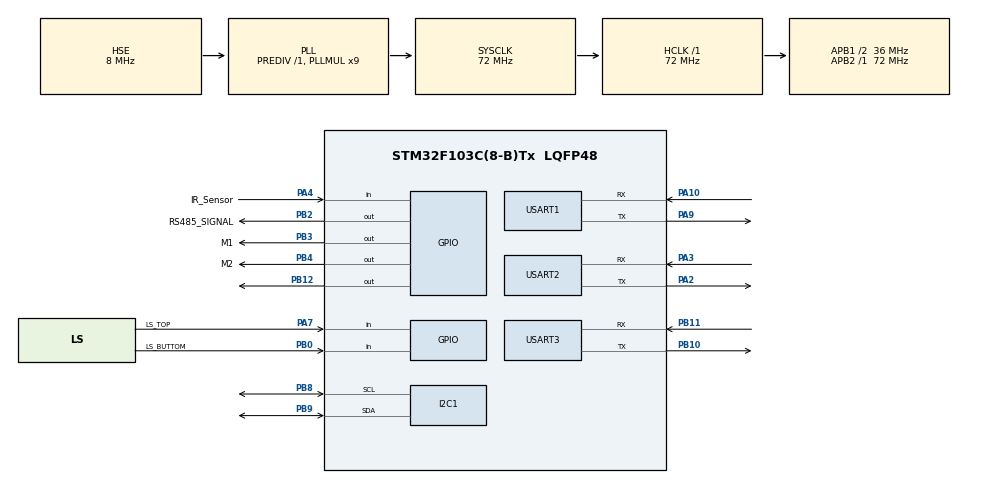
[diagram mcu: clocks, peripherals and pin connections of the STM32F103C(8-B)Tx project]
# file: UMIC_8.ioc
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Mcu.Family=STM32F1
Mcu.Name=STM32F103C(8-B)Tx
Mcu.Package=LQFP48
NVIC.PriorityGroup=NVIC_PRIORITYGROUP_4
NVIC.USART1_IRQn=true\:0\:0\:false\:false\:true\:true
NVIC.USART2_IRQn=true\:0\:0\:false\:false\:true\:true
NVIC.USART3_IRQn=true\:0\:0\:false\:false\:true\:true
PA10.Mode=Asynchronous
PA10.Signal=USART1_RX
PA13.Mode=Serial_Wire
PA13.Signal=SYS_JTMS-SWDIO
PA14.Mode=Serial_Wire
PA14.Signal=SYS_JTCK-SWCLK
PA2.Mode=Asynchronous
PA2.Signal=USART2_TX
PA3.Mode=Asynchronous
PA3.Signal=USART2_RX
PA4.GPIO_Label=IR_Sensor
PA4.Signal=GPIO_Input
PA7.GPIO_Label=LS_TOP
PA7.GPIO_PuPd=GPIO_PULLUP
PA7.Signal=GPIO_Input
PA9.Mode=Asynchronous
PA9.Signal=USART1_TX
PB0.GPIO_Label=LS_BUTTOM
PB0.GPIO_PuPd=GPIO_PULLUP
PB0.Signal=GPIO_Input
PB10.Mode=Asynchronous
PB10.Signal=USART3_TX
PB11.Mode=Asynchronous
PB11.Signal=USART3_RX
PB12.Signal=GPIO_Output
PB2.GPIO_Label=RS485_SIGNAL
PB2.Signal=GPIO_Output
PB3.GPIO_Label=M1
PB3.GPIO_ModeDefaultOutputPP=GPIO_MODE_OUTPUT_OD
PB3.Signal=GPIO_Output
PB4.GPIO_Label=M2
PB4.GPIO_ModeDefaultOutputPP=GPIO_MODE_OUTPUT_OD
PB4.Signal=GPIO_Output
PB8.Mode=I2C
PB8.Signal=I2C1_SCL
PB9.Mode=I2C
PB9.Signal=I2C1_SDA
PD0-OSC_IN.Mode=HSE-External-Oscillator
PD0-OSC_IN.Signal=RCC_OSC_IN
PD1-OSC_OUT.Mode=HSE-External-Oscillator
PD1-OSC_OUT.Signal=RCC_OSC_OUT
ProjectManager.HeapSize=0x200
ProjectManager.StackSize=0x400
ProjectManager.TargetToolchain=MDK-ARM V5
RCC.AHBFreq_Value=72000000
RCC.APB1CLKDivider=RCC_HCLK_DIV2
RCC.APB1Freq_Value=36000000
RCC.APB1TimFreq_Value=72000000
RCC.APB2Freq_Value=72000000
RCC.APB2TimFreq_Value=72000000
RCC.HCLKFreq_Value=72000000
RCC.PLLMUL=RCC_PLL_MUL9
RCC.PLLSourceVirtual=RCC_PLLSOURCE_HSE
RCC.SYSCLKFreq_VALUE=72000000
RCC.SYSCLKSource=RCC_SYSCLKSOURCE_PLLCLK
RCC.USBFreq_Value=72000000
USART1.VirtualMode=VM_ASYNC
USART2.VirtualMode=VM_ASYNC
USART3.VirtualMode=VM_ASYNC
board=UMIC_8

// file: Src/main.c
/**
  ******************************************************************************
  * File Name          : main.c
  * Description        : Main program body
  ******************************************************************************
  ** This notice applies to any and all portions of this file
  * that are not between comment pairs USER CODE BEGIN and
  * USER CODE END. Other portions of this file, whether
  * inserted by the user or by software development tools
  * are owned by their respective copyright owners.
  *
  * COPYRIGHT(c) 2017 STMicroelectronics
  *
  * Redistribution and use in source and binary forms, with or without modification,
  * are permitted provided that the following conditions are met:
  *   1. Redistributions of source code must retain the above copyright notice,
  *      this list of conditions and the following disclaimer.
  *   2. Redistributions in binary form must reproduce the above copyright notice,
  *      this list of conditions and the following disclaimer in the documentation
  *      and/or other materials provided with the distribution.
  *   3. Neither the name of STMicroelectronics nor the names of its contributors
  *      may be used to endorse or promote products derived from this software
  *      without specific prior written permission.
  *
  * THIS SOFTWARE IS PROVIDED BY THE COPYRIGHT HOLDERS AND CONTRIBUTORS "AS IS"
  * AND ANY EXPRESS OR IMPLIED WARRANTIES, INCLUDING, BUT NOT LIMITED TO, THE
  * IMPLIED WARRANTIES OF MERCHANTABILITY AND FITNESS FOR A PARTICULAR PURPOSE ARE
  * DISCLAIMED. IN NO EVENT SHALL THE COPYRIGHT HOLDER OR CONTRIBUTORS BE LIABLE
  * FOR ANY DIRECT, INDIRECT, INCIDENTAL, SPECIAL, EXEMPLARY, OR CONSEQUENTIAL
  * DAMAGES (INCLUDING, BUT NOT LIMITED TO, PROCUREMENT OF SUBSTITUTE GOODS OR
  * SERVICES; LOSS OF USE, DATA, OR PROFITS; OR BUSINESS INTERRUPTION) HOWEVER
  * CAUSED AND ON ANY THEORY OF LIABILITY, WHETHER IN CONTRACT, STRICT LIABILITY,
  * OR TORT (INCLUDING NEGLIGENCE OR OTHERWISE) ARISING IN ANY WAY OUT OF THE USE
  * OF THIS SOFTWARE, EVEN IF ADVISED OF THE POSSIBILITY OF SUCH DAMAGE.
  *
  ******************************************************************************
  */
#include "main.h"
#include "stm32f1xx_hal.h"

/* USER CODE BEGIN Includes */
#include "enum.h"
#include <string.h>
#include <stdio.h>
/* USER CODE END Includes */

I2C_HandleTypeDef hi2c1;

UART_HandleTypeDef huart1;
UART_HandleTypeDef huart2;
UART_HandleTypeDef huart3;

/* USER CODE BEGIN PV */
/* Private variables ---------------------------------------------------------*/
enum Moving_State Updown;
enum CoreXY_Action Updown_Act;
enum Moving_State CoreXY_State;
enum Moving_State Scissors_State;
enum Circle_State Mcircle = Circle_Init;
uint8_t Recive_Data[4];
uint8_t Scissors_Recive_Buffer[30];
uint8_t CoreXY_Recive_Buffer[30];
uint8_t CoreXY_Transmit_Buffer[30];

/* USER CODE END PV */

void SystemClock_Config(void);
static void MX_GPIO_Init(void);
static void MX_USART1_UART_Init(void);
static void MX_USART2_UART_Init(void);
static void MX_I2C1_Init(void);
static void MX_USART3_UART_Init(void);

/* USER CODE BEGIN PFP */
/* Private function prototypes -----------------------------------------------*/
void Block_Clear(uint8_t* buffer);
void Moving_Updown(enum Moving_State state);
void Moving_CoreXY(void);
void CoreXY_Act(uint8_t position, enum CoreXY_Action action);
void CoreXY_Send(enum CoreXY_Command command);
void Mechanic_Init(void);
/* USER CODE END PFP */

int main(void)
{

  /* MCU Configuration----------------------------------------------------------*/

  /* Reset of all peripherals, Initializes the Flash interface and the Systick. */
  HAL_Init();

  /* Configure the system clock */
  SystemClock_Config();

  /* Initialize all configured peripherals */
  MX_GPIO_Init();
  MX_USART1_UART_Init();
  MX_USART2_UART_Init();
  MX_I2C1_Init();
  MX_USART3_UART_Init();

  /* USER CODE BEGIN 2 */
	Mechanic_Init();
  /* USER CODE END 2 */

  /* Infinite loop */
  /* USER CODE BEGIN WHILE */
  while (1)
  {
		//HAL_GPIO_TogglePin(GPIOB, GPIO_PIN_12);
		//HAL_Delay(200);
		if(Mcircle == Circle_Idle)
			continue;
		if(Updown != Moving && Updown_Act == Stop)
		{
			HAL_GPIO_WritePin(M1_GPIO_Port, M1_Pin, GPIO_PIN_SET);
			HAL_GPIO_WritePin(M2_GPIO_Port, M2_Pin, GPIO_PIN_SET);
			HAL_Delay(200);
			HAL_GPIO_WritePin(M1_GPIO_Port, M1_Pin, GPIO_PIN_RESET);
			HAL_GPIO_WritePin(M2_GPIO_Port, M2_Pin, GPIO_PIN_RESET);
			if(Updown == At_Buttom)
				Mcircle = Circle_Idle;
			else
			{
				Moving_CoreXY();
				Moving_Updown(At_Top);
			}
		}
		else
		{
			if(HAL_GPIO_ReadPin(LS_BUTTOM_GPIO_Port, LS_BUTTOM_Pin) == GPIO_PIN_RESET
				|| HAL_GPIO_ReadPin(LS_TOP_GPIO_Port, LS_TOP_Pin) == GPIO_PIN_RESET)
			{
				HAL_Delay(10);
				if(HAL_GPIO_ReadPin(LS_BUTTOM_GPIO_Port, LS_BUTTOM_Pin) == GPIO_PIN_RESET && Updown_Act == Down)
				{
					Updown = At_Buttom;
					Updown_Act = Stop;
					HAL_GPIO_TogglePin(GPIOB, GPIO_PIN_12);
				}
				if(HAL_GPIO_ReadPin(LS_TOP_GPIO_Port, LS_TOP_Pin) == GPIO_PIN_RESET && Updown_Act == Up)
				{
					Updown = At_Top;
					Updown_Act = Stop;
					HAL_GPIO_TogglePin(GPIOB, GPIO_PIN_12);
				}
			}
		}

  /* USER CODE END WHILE */

  }

}

/** System Clock Configuration
*/
void SystemClock_Config(void)
{

  RCC_OscInitTypeDef RCC_OscInitStruct;
  RCC_ClkInitTypeDef RCC_ClkInitStruct;

    /**Initializes the CPU, AHB and APB busses clocks
    */
  RCC_OscInitStruct.OscillatorType = RCC_OSCILLATORTYPE_HSE;
  RCC_OscInitStruct.HSEState = RCC_HSE_ON;
  RCC_OscInitStruct.HSEPredivValue = RCC_HSE_PREDIV_DIV1;
  RCC_OscInitStruct.HSIState = RCC_HSI_ON;
  RCC_OscInitStruct.PLL.PLLState = RCC_PLL_ON;
  RCC_OscInitStruct.PLL.PLLSource = RCC_PLLSOURCE_HSE;
  RCC_OscInitStruct.PLL.PLLMUL = RCC_PLL_MUL9;
  if (HAL_RCC_OscConfig(&RCC_OscInitStruct) != HAL_OK)
  {
    _Error_Handler(__FILE__, __LINE__);
  }

    /**Initializes the CPU, AHB and APB busses clocks
    */
  RCC_ClkInitStruct.ClockType = RCC_CLOCKTYPE_HCLK|RCC_CLOCKTYPE_SYSCLK
                              |RCC_CLOCKTYPE_PCLK1|RCC_CLOCKTYPE_PCLK2;
  RCC_ClkInitStruct.SYSCLKSource = RCC_SYSCLKSOURCE_PLLCLK;
  RCC_ClkInitStruct.AHBCLKDivider = RCC_SYSCLK_DIV1;
  RCC_ClkInitStruct.APB1CLKDivider = RCC_HCLK_DIV2;
  RCC_ClkInitStruct.APB2CLKDivider = RCC_HCLK_DIV1;

  if (HAL_RCC_ClockConfig(&RCC_ClkInitStruct, FLASH_LATENCY_2) != HAL_OK)
  {
    _Error_Handler(__FILE__, __LINE__);
  }

    /**Configure the Systick interrupt time
    */
  HAL_SYSTICK_Config(HAL_RCC_GetHCLKFreq()/1000);

    /**Configure the Systick
    */
  HAL_SYSTICK_CLKSourceConfig(SYSTICK_CLKSOURCE_HCLK);

  /* SysTick_IRQn interrupt configuration */
  HAL_NVIC_SetPriority(SysTick_IRQn, 0, 0);
}

/* I2C1 init function */
static void MX_I2C1_Init(void)
{

  hi2c1.Instance = I2C1;
  hi2c1.Init.ClockSpeed = 100000;
  hi2c1.Init.DutyCycle = I2C_DUTYCYCLE_2;
  hi2c1.Init.OwnAddress1 = 0;
  hi2c1.Init.AddressingMode = I2C_ADDRESSINGMODE_7BIT;
  hi2c1.Init.DualAddressMode = I2C_DUALADDRESS_DISABLE;
  hi2c1.Init.OwnAddress2 = 0;
  hi2c1.Init.GeneralCallMode = I2C_GENERALCALL_DISABLE;
  hi2c1.Init.NoStretchMode = I2C_NOSTRETCH_DISABLE;
  if (HAL_I2C_Init(&hi2c1) != HAL_OK)
  {
    _Error_Handler(__FILE__, __LINE__);
  }

}

/* USART1 init function */
static void MX_USART1_UART_Init(void)
{

  huart1.Instance = USART1;
  huart1.Init.BaudRate = 115200;
  huart1.Init.WordLength = UART_WORDLENGTH_8B;
  huart1.Init.StopBits = UART_STOPBITS_1;
  huart1.Init.Parity = UART_PARITY_NONE;
  huart1.Init.Mode = UART_MODE_TX_RX;
  huart1.Init.HwFlowCtl = UART_HWCONTROL_NONE;
  huart1.Init.OverSampling = UART_OVERSAMPLING_16;
  if (HAL_UART_Init(&huart1) != HAL_OK)
  {
    _Error_Handler(__FILE__, __LINE__);
  }

}

/* USART2 init function */
static void MX_USART2_UART_Init(void)
{

  huart2.Instance = USART2;
  huart2.Init.BaudRate = 115200;
  huart2.Init.WordLength = UART_WORDLENGTH_8B;
  huart2.Init.StopBits = UART_STOPBITS_1;
  huart2.Init.Parity = UART_PARITY_NONE;
  huart2.Init.Mode = UART_MODE_TX_RX;
  huart2.Init.HwFlowCtl = UART_HWCONTROL_NONE;
  huart2.Init.OverSampling = UART_OVERSAMPLING_16;
  if (HAL_UART_Init(&huart2) != HAL_OK)
  {
    _Error_Handler(__FILE__, __LINE__);
  }

}

/* USART3 init function */
static void MX_USART3_UART_Init(void)
{

  huart3.Instance = USART3;
  huart3.Init.BaudRate = 115200;
  huart3.Init.WordLength = UART_WORDLENGTH_8B;
  huart3.Init.StopBits = UART_STOPBITS_1;
  huart3.Init.Parity = UART_PARITY_NONE;
  huart3.Init.Mode = UART_MODE_TX_RX;
  huart3.Init.HwFlowCtl = UART_HWCONTROL_NONE;
  huart3.Init.OverSampling = UART_OVERSAMPLING_16;
  if (HAL_UART_Init(&huart3) != HAL_OK)
  {
    _Error_Handler(__FILE__, __LINE__);
  }

}

/** Configure pins as
        * Analog
        * Input
        * Output
        * EVENT_OUT
        * EXTI
*/
static void MX_GPIO_Init(void)
{

  GPIO_InitTypeDef GPIO_InitStruct;

  /* GPIO Ports Clock Enable */
  __HAL_RCC_GPIOD_CLK_ENABLE();
  __HAL_RCC_GPIOA_CLK_ENABLE();
  __HAL_RCC_GPIOB_CLK_ENABLE();

  /*Configure GPIO pin Output Level */
  HAL_GPIO_WritePin(GPIOB, RS485_SIGNAL_Pin|GPIO_PIN_12|M1_Pin|M2_Pin, GPIO_PIN_RESET);

  /*Configure GPIO pin : IR_Sensor_Pin */
  GPIO_InitStruct.Pin = IR_Sensor_Pin;
  GPIO_InitStruct.Mode = GPIO_MODE_INPUT;
  GPIO_InitStruct.Pull = GPIO_NOPULL;
  HAL_GPIO_Init(IR_Sensor_GPIO_Port, &GPIO_InitStruct);

  /*Configure GPIO pin : LS_TOP_Pin */
  GPIO_InitStruct.Pin = LS_TOP_Pin;
  GPIO_InitStruct.Mode = GPIO_MODE_INPUT;
  GPIO_InitStruct.Pull = GPIO_PULLUP;
  HAL_GPIO_Init(LS_TOP_GPIO_Port, &GPIO_InitStruct);

  /*Configure GPIO pin : LS_BUTTOM_Pin */
  GPIO_InitStruct.Pin = LS_BUTTOM_Pin;
  GPIO_InitStruct.Mode = GPIO_MODE_INPUT;
  GPIO_InitStruct.Pull = GPIO_PULLUP;
  HAL_GPIO_Init(LS_BUTTOM_GPIO_Port, &GPIO_InitStruct);

  /*Configure GPIO pins : RS485_SIGNAL_Pin PB12 */
  GPIO_InitStruct.Pin = RS485_SIGNAL_Pin|GPIO_PIN_12;
  GPIO_InitStruct.Mode = GPIO_MODE_OUTPUT_PP;
  GPIO_InitStruct.Speed = GPIO_SPEED_FREQ_LOW;
  HAL_GPIO_Init(GPIOB, &GPIO_InitStruct);

  /*Configure GPIO pins : M1_Pin M2_Pin */
  GPIO_InitStruct.Pin = M1_Pin|M2_Pin;
  GPIO_InitStruct.Mode = GPIO_MODE_OUTPUT_OD;
  GPIO_InitStruct.Speed = GPIO_SPEED_FREQ_LOW;
  HAL_GPIO_Init(GPIOB, &GPIO_InitStruct);

}

/* USER CODE BEGIN 4 */
/**
  * @brief  USART recive interrupt callback function.
  * @retval None
  */
void HAL_UART_RxCpltCallback(UART_HandleTypeDef *huart)
{
	if(huart == &huart2)
	{
		switch(Mcircle)
		{
			case Circle_Idle:
				Mcircle = Circle_Moving;
				HAL_UART_Transmit(&huart2, (uint8_t*)"OK", sizeof("OK"), 1000);
				Moving_Updown(At_Buttom);
				break;
			default:
				HAL_UART_Transmit(&huart2, (uint8_t*)"BUSY", sizeof("BUSY"), 1000);
		}
	}
	if(huart == &huart1)
	{
		if(!memcmp(CoreXY_Recive_Buffer, "ok\n", sizeof("ok\n")))
			CoreXY_State = Finished;
		else
			HAL_UART_Transmit(&huart2, (uint8_t*)"COREXY ERROR", sizeof("COREXY ERROR"), 1000);
	}
		if(huart == &huart3)
	{
		if(!memcmp(CoreXY_Recive_Buffer, "DONE", sizeof("DONE")))
			Scissors_State = Finished;
		else
			HAL_UART_Transmit(&huart2, (uint8_t*)"COREXYERROR", sizeof("COREXYERROR"), 1000);
	}
}

/**
  * @brief USART transmit interrupt callback function.
  * @retval None
  */
void HAL_UART_TxCpltCallback(UART_HandleTypeDef *huart)
{
	if(huart == &huart1)
	{
		Block_Clear(CoreXY_Recive_Buffer);
		HAL_UART_Receive_IT(&huart1, CoreXY_Recive_Buffer, sizeof("ok\n"));
	}
	if(huart == &huart3)
	{
		HAL_GPIO_WritePin(RS485_SIGNAL_GPIO_Port, RS485_SIGNAL_Pin, GPIO_PIN_RESET);
		Block_Clear(Scissors_Recive_Buffer);
		HAL_UART_Receive_IT(&huart3, Scissors_Recive_Buffer, sizeof("DONE"));
	}

}

/*void HAL_GPIO_EXTI_Callback(uint16_t GPIO_Pin)
{
	if(GPIO_Pin == LS_BUTTOM_Pin)
		Updown = At_Buttom;
	else if(GPIO_Pin == LS_TOP_Pin)
		Updown = At_Top;
	HAL_GPIO_TogglePin(GPIOB, GPIO_PIN_12);
}*/

/**
  * @brief To reset a block of memory into 0000...
	* @param buffer: A pointer to a block of memory
  * @retval None
  */
void Block_Clear(uint8_t* buffer)
{
	uint8_t i;
	for(i=0; i<sizeof(buffer); i++)
	{
		*(buffer + i) = 0;
	}
}

/**
  * @brief To set a COREXY action
	* @param action: An action type in the CoreXY_Action enum
  * @retval None
  */
void CoreXY_Act(uint8_t position, enum CoreXY_Action action)
{
	unsigned int xy[] = {0, 0};
	switch(position)
	{
		case 0: xy[0] = POSITION_0_X; xy[1] = POSITION_0_Y; break;
		case 1: xy[0] = POSITION_1_X; xy[1] = POSITION_1_Y; break;
		case 2: xy[0] = POSITION_2_X; xy[1] = POSITION_2_Y; break;
		case 3: xy[0] = POSITION_3_X; xy[1] = POSITION_3_Y; break;
		case 4: xy[0] = POSITION_4_X; xy[1] = POSITION_4_Y; break;
		case 5: xy[0] = POSITION_5_X; xy[1] = POSITION_5_Y; break;
		case 6: xy[0] = POSITION_6_X; xy[1] = POSITION_6_Y; break;
		case 7: xy[0] = POSITION_7_X; xy[1] = POSITION_7_Y; break;
		case 8: xy[0] = POSITION_8_X; xy[1] = POSITION_8_Y; break;
		case 9: xy[0] = POSITION_UD_X; xy[1] = POSITION_UD_Y; break;
	}
	if(action == Up)
	{
		uint16_t i;
		Block_Clear(CoreXY_Transmit_Buffer);
		i = sprintf((char*)CoreXY_Transmit_Buffer, "G01 X%d Y%d F150\n", xy[0] - DELTA_X, xy[1]);
		HAL_UART_Transmit(&huart1, CoreXY_Transmit_Buffer, i+1, 1000);
		CoreXY_State = Moving;
		HAL_UART_Transmit_IT(&huart1, (uint8_t*)"G4 P0.01", sizeof("G4 P0.01"));
		while(CoreXY_State == Moving);
		HAL_GPIO_WritePin(RS485_SIGNAL_GPIO_Port, RS485_SIGNAL_Pin, GPIO_PIN_SET);
		HAL_UART_Transmit_IT(&huart3, (uint8_t*)"DOWN", sizeof("DOWN"));
		Scissors_State = Moving;
		while(Scissors_State == Moving);

		Block_Clear(CoreXY_Transmit_Buffer);
		i = sprintf((char*)CoreXY_Transmit_Buffer, "G01 X%d Y%d F150\n", xy[0], xy[1]);
		HAL_UART_Transmit(&huart1, CoreXY_Transmit_Buffer, i+1, 1000);
		CoreXY_State = Moving;
		HAL_UART_Transmit_IT(&huart1, (uint8_t*)"G4 P0.01", sizeof("G4 P0.01"));
		while(CoreXY_State == Moving);
		HAL_GPIO_WritePin(RS485_SIGNAL_GPIO_Port, RS485_SIGNAL_Pin, GPIO_PIN_SET);
		HAL_UART_Transmit_IT(&huart3, (uint8_t*)"UP", sizeof("UP"));
		Scissors_State = Moving;
		while(Scissors_State == Moving);
	}
	else
	{
		uint16_t i;
		Block_Clear(CoreXY_Transmit_Buffer);
		i = sprintf((char*)CoreXY_Transmit_Buffer, "G01 X%d Y%d F100\n", xy[0], xy[1]);
		HAL_UART_Transmit(&huart1, CoreXY_Transmit_Buffer, i+1, 1000);
		CoreXY_State = Moving;
		HAL_UART_Transmit_IT(&huart1, (uint8_t*)"G4 P0.01", sizeof("G4 P0.01"));
		while(CoreXY_State == Moving);
		HAL_GPIO_WritePin(RS485_SIGNAL_GPIO_Port, RS485_SIGNAL_Pin, GPIO_PIN_SET);
		HAL_UART_Transmit_IT(&huart3, (uint8_t*)"DOWN", sizeof("DOWN"));
		Scissors_State = Moving;
		while(Scissors_State == Moving);

		Block_Clear(CoreXY_Transmit_Buffer);
		i = sprintf((char*)CoreXY_Transmit_Buffer, "G01 X%d Y%d F150\n", xy[0] - DELTA_X, xy[1]);
		HAL_UART_Transmit(&huart1, CoreXY_Transmit_Buffer, i+1, 1000);
		CoreXY_State = Moving;
		HAL_UART_Transmit_IT(&huart1, (uint8_t*)"G4 P0.01", sizeof("G4 P0.01"));
		while(CoreXY_State == Moving);
		HAL_GPIO_WritePin(RS485_SIGNAL_GPIO_Port, RS485_SIGNAL_Pin, GPIO_PIN_SET);
		HAL_UART_Transmit_IT(&huart3, (uint8_t*)"UP", sizeof("UP"));
		Scissors_State = Moving;
		while(Scissors_State == Moving);
	}
}

void CoreXY_Send(enum CoreXY_Command command)
{
	switch(command)
	{
		case CoreXY_Home: HAL_UART_Transmit(&huart1, (uint8_t*)"$H\n", sizeof("$H\n"), 1000);break;
		case CoreXY_TogXY: HAL_UART_Transmit(&huart1, (uint8_t*)"$3=3\n", sizeof("$3=3\n"), 1000);break;
	}
	while(CoreXY_State == Moving);
}

void Mechanic_Init(void)
{
	//CoreXY_Send(CoreXY_TogXY);
	//CoreXY_Send(CoreXY_Home);
	HAL_GPIO_WritePin(M1_GPIO_Port, M1_Pin, GPIO_PIN_RESET);
	HAL_GPIO_WritePin(M2_GPIO_Port, M2_Pin, GPIO_PIN_RESET);
	HAL_Delay(3000);
	Moving_Updown(At_Top);
	HAL_UART_Receive_IT(&huart2, Recive_Data, sizeof(Recive_Data));
}

void Moving_Updown(enum Moving_State state)
{
	if(state == Moving)
	{
		return;
	}
	else if(state == At_Top)
	{
		HAL_GPIO_WritePin(M1_GPIO_Port, M1_Pin, GPIO_PIN_RESET);
		HAL_GPIO_WritePin(M2_GPIO_Port, M2_Pin, GPIO_PIN_SET);
		Updown_Act = Down;
	}
	else
	{
		HAL_GPIO_WritePin(M1_GPIO_Port, M1_Pin, GPIO_PIN_SET);
		HAL_GPIO_WritePin(M2_GPIO_Port, M2_Pin, GPIO_PIN_RESET);
		Updown_Act = Up;
	}
	Updown = Moving;
}

void Moving_CoreXY(void)
{
	uint8_t put, get;
	put = Recive_Data[0]-'0';
	get = Recive_Data[2]-'0';
	Block_Clear(Recive_Data);
	if(put<=8&&get<=8)
	{
		CoreXY_Act(9, Up);
		CoreXY_Act(put, Down);
		CoreXY_Act(get, Up);
		CoreXY_Act(9, Down);
	}
	else
	{
		HAL_UART_Transmit(&huart2, (uint8_t*)"ILIGLE INPUT", sizeof("ILIGLE INPUT"), 1000);
		HAL_UART_Transmit(&huart2, &put, 1, 1000);
		HAL_UART_Transmit(&huart2, &get, 1, 1000);
	}
}
/* USER CODE END 4 */

void _Error_Handler(char * file, int line)
{
  while(1)
  {
  }
}

/************************ (C) COPYRIGHT STMicroelectronics *****END OF FILE****/
